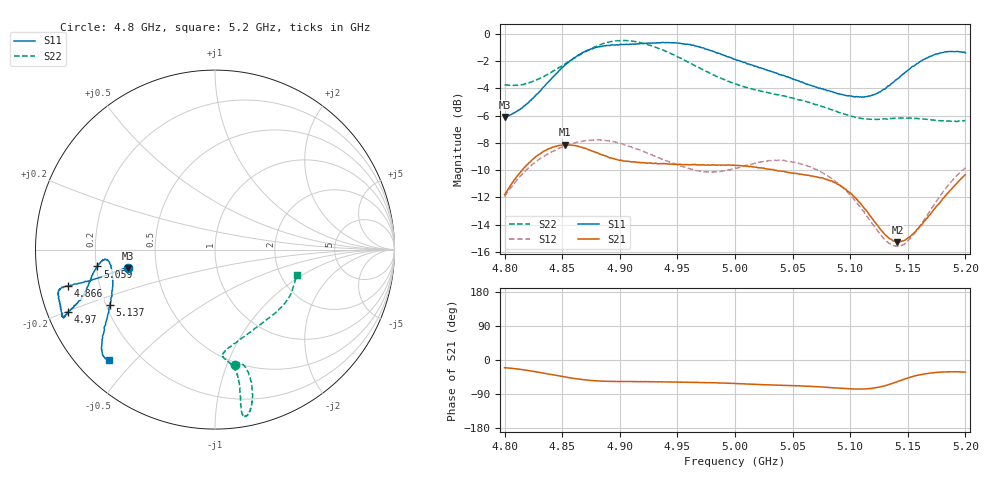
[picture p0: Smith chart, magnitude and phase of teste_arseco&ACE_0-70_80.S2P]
! Network Analyzer HP8722D
! Hewlett-Packard
! Data name: Linha & Wilkinson
! Saver's name: Rodrigo Anjos
! Comments: Teste da utilização de aquisição
! continua pelo VNA HP8722D
! Time and date: 8/5/2025 13:25
!  Frequency  S11  S21  S12  S22
# HZ  S  MA R 50
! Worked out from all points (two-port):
!   401 points, 4.8 GHz to 5.2 GHz, reference 50 ohm
!   highest |S21| = -8.14 dB at 4.852 GHz (marker M1); lowest = -15.3 dB at 5.141 GHz (marker M2)
!   |S21| within 3 dB of the highest: 4.805 GHz to 5.091 GHz (286.3 MHz wide, 5.79 % of centre); 5.190694 GHz to end of sweep
!   lowest |S11| = -6.1 dB at 4.8 GHz (marker M3), VSWR 2.96, Z = 17.1 - j4.64 ohm
!   |S11| at or under -10 dB: nowhere
!   |S22| runs from -6.4 to -0.5 dB; largest |S21 - S12| = 0.62
!   S11 on the Smith chart (normalised r, x): 4.8 GHz: 0.34, -0.09; 4.866 GHz: 0.09, -0.12; 4.97 GHz: 0.06, -0.20; 5.059 GHz: 0.20, -0.07; 5.137 GHz: 0.22, -0.24; 5.2 GHz: 0.10, -0.42
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4.8e9  0.4949 -168.0  0.2568 -20.3  0.2528 -141.4  0.6506 -80.1
4.826e9  0.5883 -167.2  0.3505 -30.5  0.3353 -145.3  0.6721 -75.7
4.852e9  0.7641 -166.1  0.3918 -44.7  0.3869 -150.1  0.7721 -74.8
4.866e9  0.8441 -166.0  0.3839 -51.0  0.4022 -152.4  0.8398 -75.6
4.867e9  0.8491 -166.2  0.3829 -51.4  0.4026 -152.5  0.8453 -75.7
4.88e9  0.8906 -165.8  0.3665 -55.2  0.4082 -154.6  0.9014 -77.0
4.9e9  0.9122 -162.9  0.3432 -56.6  0.3964 -156.8  0.9425 -79.3
4.934e9  0.9268 -156.8  0.3337 -57.8  0.3512 -155.9  0.8813 -80.7
4.95e9  0.9244 -156.0  0.3316 -58.4  0.3304 -152.8  0.8234 -80.1
4.97e9  0.8917 -157.0  0.3306 -59.4  0.3135 -147.2  0.7452 -79.7
5e9  0.8054 -159.4  0.3288 -62.1  0.3213 -137.5  0.6544 -81.3
5.034e9  0.7216 -165.7  0.3163 -66.3  0.3435 -134.7  0.601 -85.7
5.059e9  0.6618 -171.9  0.3042 -68.7  0.3316 -136.5  0.5679 -84.4
5.067e9  0.6436 -173.5  0.3009 -69.7  0.3226 -137.3  0.555 -82.4
5.084e9  0.6144 -175.0  0.2889 -73.0  0.2941 -138.8  0.5255 -76.0
5.103e9  0.588 -171.5  0.2533 -76.6  0.2477 -138.9  0.4967 -64.7
5.134e9  0.6448 -153.9  0.1775 -64.4  0.1701 -119.9  0.488 -42.9
5.137e9  0.661 -152.1  0.1741 -61.4  0.1677 -116.0  0.4897 -41.1
5.141e9  0.6823 -150.1  0.1724 -56.9  0.1663 -110.7  0.4911 -38.9
5.152e9  0.7446 -145.4  0.1804 -45.6  0.1771 -96.6  0.4906 -33.2
5.17e9  0.8277 -139.7  0.2187 -34.4  0.2266 -82.2  0.4836 -25.2
5.2e9  0.8509 -133.9  0.3038 -31.8  0.3223 -77.3  0.4806 -17.4
